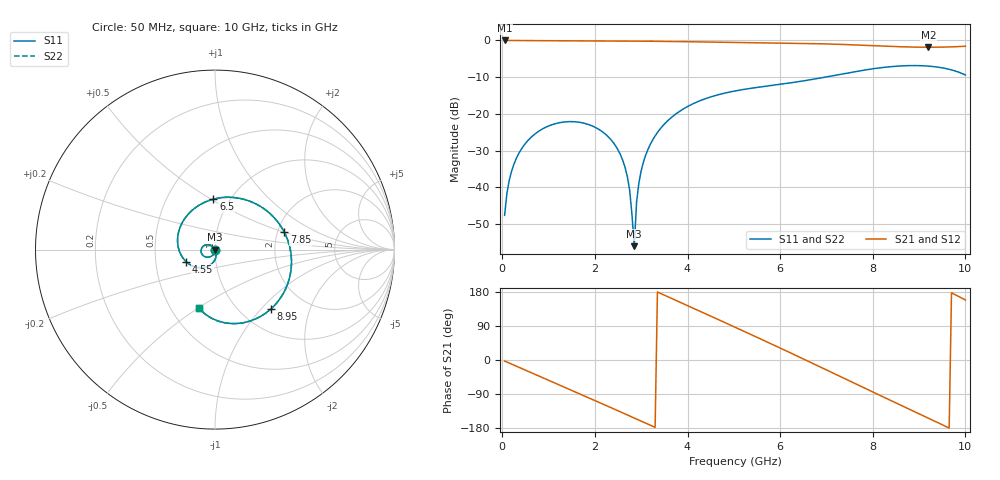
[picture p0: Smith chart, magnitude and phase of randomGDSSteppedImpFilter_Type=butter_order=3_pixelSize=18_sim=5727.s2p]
! freq	dB(S11)	phase(S11)	dB(S12)	phase(S12)
!  dB(S21)	phase(S21)	dB(S22)	phase(S22)
!S-par simulation data
#  GHz  S  DB  R 50
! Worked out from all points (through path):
!   200 points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, 50 MHz to 10 GHz, reference 50 ohm
!   highest |S21| = -0.01 dB at 50 MHz (marker M1); lowest = -1.9 dB at 9.2 GHz (marker M2)
!   group delay of S21, straight-line fit = 156 ps
!   lowest |S11| = -56.0 dB at 2.85 GHz (marker M3), VSWR 1.00, Z = 50.2 - j0.0286 ohm
!   |S11| at or under -10 dB: start of sweep to 6.969 GHz
!   |S22| runs from -55.0 to -6.8 dB; largest |S21 - S12| = 0
!   S11 on the Smith chart (normalised r, x): 50 MHz: 1.00, -0.01; 4.55 GHz: 0.72, -0.10; 6.5 GHz: 0.84, +0.51; 7.85 GHz: 2.17, +0.51; 8.95 GHz: 1.37, -1.13; 10 GHz: 0.69, -0.51
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0.05  -47.64 -88.1  -0.01 -2.7  -0.01 -2.7  -47.64 -88.1
0.2  -35.65 -99.8  -0.02 -10.8  -0.02 -10.8  -35.65 -99.8
0.55  -27.31 -119.8  -0.05 -29.5  -0.05 -29.5  -27.31 -119.8
1.2  -22.50 -155.3  -0.10 -64.2  -0.10 -64.2  -22.50 -155.3
1.75  -22.50 175.0  -0.13 -93.6  -0.13 -93.6  -22.50 174.9
2.25  -25.79 147.6  -0.15 -120.5  -0.15 -120.5  -25.79 147.4
2.6  -32.62 127.1  -0.17 -139.5  -0.17 -139.5  -32.62 126.6
2.75  -40.74 114.4  -0.18 -147.6  -0.18 -147.6  -40.73 113.0
2.85  -56.04 -10.4  -0.18 -153.1  -0.18 -153.1  -55.02 -6.5
2.9  -44.02 -55.8  -0.19 -155.8  -0.19 -155.8  -43.93 -53.8
3  -35.46 -68.0  -0.20 -161.3  -0.20 -161.3  -35.44 -67.2
3.4  -24.25 -92.8  -0.25 176.7  -0.25 176.7  -24.24 -92.6
4.55  -15.19 -157.1  -0.46 113.0  -0.46 113.0  -15.19 -157.0
5.05  -13.70 174.9  -0.55 85.2  -0.55 85.2  -13.70 175.0
5.85  -12.20 129.4  -0.67 40.1  -0.67 40.1  -12.20 129.4
6.5  -11.02 91.9  -0.81 2.8  -0.81 2.8  -11.02 91.9
6.7  -10.60 80.3  -0.86 -8.8  -0.86 -8.8  -10.60 80.3
7.85  -8.01 14.4  -1.34 -75.8  -1.34 -75.8  -8.01 14.3
8.35  -7.19 -13.6  -1.61 -104.6  -1.61 -104.6  -7.19 -13.7
8.95  -6.85 -46.5  -1.83 -138.9  -1.83 -138.9  -6.86 -46.7
9.2  -6.99 -60.1  -1.86 -153.3  -1.86 -153.3  -7.00 -60.4
10  -9.42 -105.1  -1.59 158.5  -1.59 158.5  -9.43 -105.6
